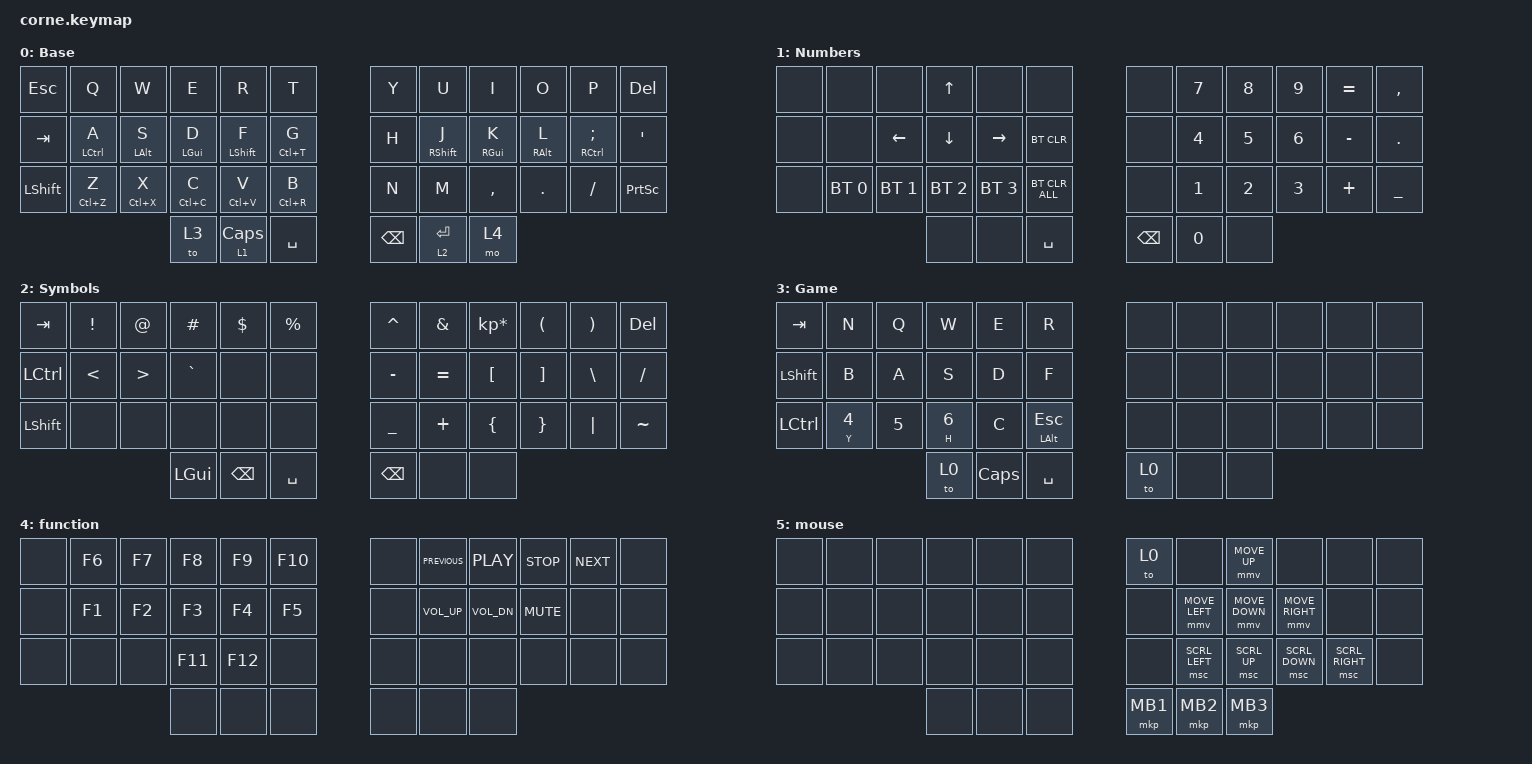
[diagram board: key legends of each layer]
/*
 * Copyright (c) 2020 The ZMK Contributors
 *
 * SPDX-License-Identifier: MIT
 */

#include <behaviors.dtsi>
#include <dt-bindings/zmk/bt.h>
#include <dt-bindings/zmk/keys.h>
#include <dt-bindings/zmk/pointing.h>

/ {
    behaviors {
        HML: HML {
            compatible = "zmk,behavior-hold-tap";
            label = "HML";
            bindings = <&kp>, <&kp>;

            #binding-cells = <2>;
            tapping-term-ms = <280>;
            quick-tap-ms = <175>;
            flavor = "tap-preferred";
            hold-trigger-key-positions = <36 37 38 39 40 41 30 18 6 8 7 19 31 33 32 20 21 9 10 11 23 35 34 22>;
            hold-trigger-on-release;
        };

        HMR: HMR {
            compatible = "zmk,behavior-hold-tap";
            label = "HMR";
            bindings = <&kp>, <&kp>;

            #binding-cells = <2>;
            tapping-term-ms = <280>;
            quick-tap-ms = <175>;
            flavor = "tap-preferred";
            hold-trigger-on-release;
            hold-trigger-key-positions = <0 1 2 3 4 5 17 29 28 27 26 25 24 12 13 14 15 16 36 37 38 39 40 41>;
        };
    };

    combos {
        compatible = "zmk,combos";

        Layer5 {
            bindings = <&to 5>;
            key-positions = <37 40>;
        };
    };

    keymap {
        compatible = "zmk,keymap";

        default_layer {
            // -----------------------------------------------------------------------------------------
            // |  TAB |  Q  |  W  |  E  |  R  |  T  |   |  Y  |  U   |  I  |  O  |  P  | BKSP |
            // | CTRL |  A  |  S  |  D  |  F  |  G  |   |  H  |  J   |  K  |  L  |  ;  |  '   |
            // | SHFT |  Z  |  X  |  C  |  V  |  B  |   |  N  |  M   |  ,  |  .  |  /  | ESC  |
            //                    | GUI | LWR | SPC |   | ENT | RSE  | ALT |

            display-name = "Base";
            bindings = <
&kp ESCAPE  &kp Q                &kp W         &kp E         &kp R          &kp T           &kp Y          &kp U               &kp I        &kp O             &kp P                    &kp DELETE
&kp TAB     &HML LEFT_CONTROL A  &HML LALT S   &HML LGUI D   &HML LSHIFT F  &HML LC(T) G    &kp H          &HMR RIGHT_SHIFT J  &HMR RGUI K  &HMR RIGHT_ALT L  &HMR RIGHT_CONTROL SEMI  &kp SQT
&kp LSHIFT  &HML LC(Z) Z         &HML LC(X) X  &HML LC(C) C  &HML LC(V) V   &HML LC(R) B    &kp N          &kp M               &kp COMMA    &kp DOT           &kp FSLH                 &kp PRINTSCREEN
                                               &to 3         &lt 1 CAPS     &kp SPACE       &kp BACKSPACE  &lt 2 ENTER         &mo 4
            >;
        };

        numbers {
            // -----------------------------------------------------------------------------------------
            // |  TAB |  1  |  2  |  3  |  4  |  5  |   |  6  |  7  |  8  |  9  |  0  | BKSP |
            // | BTCLR| BT1 | BT2 | BT3 | BT4 | BT5 |   | LFT | DWN |  UP | RGT |     |      |
            // | SHFT |     |     |     |     |     |   |     |     |     |     |     |      |
            //                    | GUI |     | SPC |   | ENT |     | ALT |

            display-name = "Numbers";
            bindings = <
&none  &none         &none           &kp UP_ARROW  &none         &none             &none          &kp N7        &kp N8        &kp N9        &kp EQUAL  &kp COMMA
&none  &none         &kp LEFT_ARROW  &kp DOWN      &kp RIGHT     &bt BT_CLR        &none          &kp NUMBER_4  &kp N5        &kp NUMBER_6  &kp MINUS  &kp PERIOD
&none  &bt BT_SEL 0  &bt BT_SEL 1    &bt BT_SEL 2  &bt BT_SEL 3  &bt BT_CLR_ALL    &none          &kp NUMBER_1  &kp NUMBER_2  &kp NUMBER_3  &kp PLUS   &kp UNDERSCORE
                                     &none         &none         &kp SPACE         &kp BACKSPACE  &kp N0        &none
            >;
        };

        symbols {
            // -----------------------------------------------------------------------------------------
            // |  TAB |  !  |  @  |  #  |  $  |  %  |   |  ^  |  &  |  *  |  (  |  )  | BKSP |
            // | CTRL |     |     |     |     |     |   |  -  |  =  |  [  |  ]  |  \  |  `   |
            // | SHFT |     |     |     |     |     |   |  _  |  +  |  {  |  }  | "|" |  ~   |
            //                    | GUI |     | SPC |   | ENT |     | ALT |

            display-name = "Symbols";
            bindings = <
&kp TAB    &kp EXCL       &kp AT            &kp HASH   &kp DLLR       &kp PRCNT    &kp CARET      &kp AMPS   &kp KP_MULTIPLY  &kp LPAR  &kp RPAR  &kp DELETE
&kp LCTRL  &kp LESS_THAN  &kp GREATER_THAN  &kp GRAVE  &none          &none        &kp MINUS      &kp EQUAL  &kp LBKT         &kp RBKT  &kp BSLH  &kp SLASH
&kp LSHFT  &none          &none             &none      &none          &none        &kp UNDER      &kp PLUS   &kp LBRC         &kp RBRC  &kp PIPE  &kp TILDE
                                            &kp LGUI   &kp BACKSPACE  &kp SPACE    &kp BACKSPACE  &none      &none
            >;
        };

        game {
            display-name = "Game";
            bindings = <
&kp TAB           &kp N           &kp Q   &kp W           &kp E     &kp R                  &none  &none  &none  &none  &none  &none
&kp LEFT_SHIFT    &kp B           &kp A   &kp S           &kp D     &kp F                  &none  &none  &none  &none  &none  &none
&kp LEFT_CONTROL  &mt Y NUMBER_4  &kp N5  &mt H NUMBER_6  &kp C     &mt LEFT_ALT ESCAPE    &none  &none  &none  &none  &none  &none
                                          &to 0           &kp CAPS  &kp SPACE              &to 0  &none  &none
            >;
        };

        function {
            bindings = <
&none  &kp F6  &kp F7  &kp F8   &kp F9   &kp F10    &none  &kp C_PREVIOUS   &kp C_PLAY    &kp C_STOP  &kp C_NEXT  &none
&none  &kp F1  &kp F2  &kp F3   &kp F4   &kp F5     &none  &kp C_VOLUME_UP  &kp C_VOL_DN  &kp C_MUTE  &none       &none
&none  &none   &none   &kp F11  &kp F12  &none      &none  &none            &none         &none       &none       &none
                       &none    &none    &none      &none  &none            &none
            >;
        };

        mouse {
            bindings = <
&none  &none  &none  &none  &none  &none    &to 0     &none           &mmv MOVE_UP    &none            &none            &none
&none  &none  &none  &none  &none  &none    &none     &mmv MOVE_LEFT  &mmv MOVE_DOWN  &mmv MOVE_RIGHT  &none            &none
&none  &none  &none  &none  &none  &none    &none     &msc SCRL_LEFT  &msc SCRL_UP    &msc SCRL_DOWN   &msc SCRL_RIGHT  &none
                     &none  &none  &none    &mkp MB1  &mkp MB2        &mkp MB3
            >;
        };
    };
};
